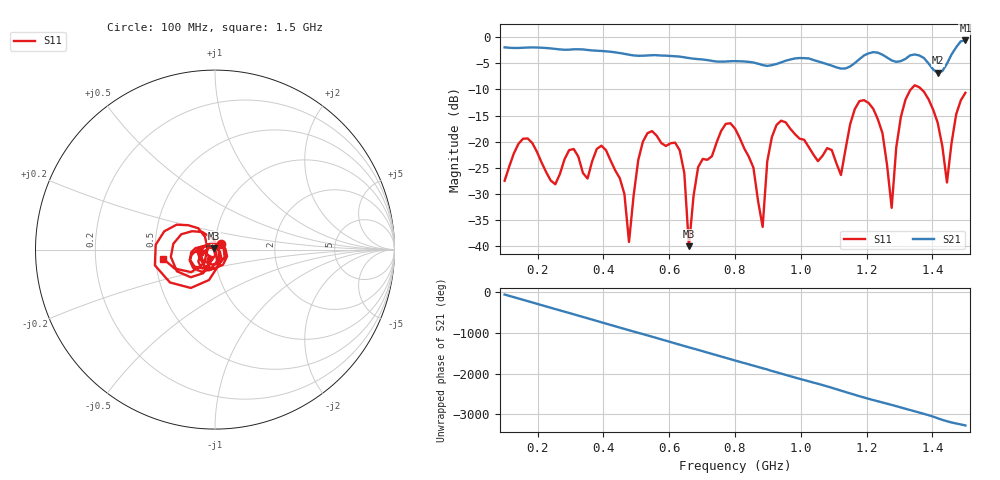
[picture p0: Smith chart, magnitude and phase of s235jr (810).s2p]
! NanoVNA-App
! Date: 2025-09-25 15:10:28
! Start: 100MHz Stop: 1,5GHz Points: 101
! S-Parameter data: F S11 S21 S12 S22
# Hz S RI R 50
!  Frequency  S11_Real  S11_Imag  S21_Real  S21_Imag  S12_Real  S12_Imag  S22_Real  S22_Imag
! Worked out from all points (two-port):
!   101 points, 100 MHz to 1.5 GHz, reference 50 ohm
!   highest |S21| = -0.65 dB at 1.5 GHz (marker M1); lowest = -6.8 dB at 1.416 GHz (marker M2)
!   |S21| within 3 dB of the highest: start of sweep to 612.7 MHz; 1.189 GHz to 1.255 GHz (65.78 MHz wide, 5.38 % of centre) (the widest 2 of 4)
!   lowest |S11| = -40.0 dB at 660 MHz (marker M3), VSWR 1.02, Z = 49.2 + j0.614 ohm
!   |S11| at or under -10 dB: start of sweep to 1.334 GHz; 1.367 GHz to end of sweep
!   S12 and S22 are empty: the file has one direction only
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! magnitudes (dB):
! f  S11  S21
! 100 MHz  -27.5  -2.0
! 156 MHz  -19.4  -2.0
! 338 MHz  -26.0  -2.4
! 408 MHz  -21.6  -2.7
! 478 MHz  -39.2  -3.4
! 520 MHz  -20.0  -3.6
! 576 MHz  -20.3  -3.5
! 632 MHz  -21.6  -3.7
! 660 MHz  -40.0  -4.0
! 688 MHz  -24.9  -4.2
! 800 MHz  -17.5  -4.6
! 884 MHz  -36.3  -5.4
! 926 MHz  -16.8  -5.1
! 1.038 GHz  -22.4  -4.4
! 1.122 GHz  -26.4  -6.0
! 1.206 GHz  -12.6  -3.1
! 1.248 GHz  -18.4  -3.4
! 1.276 GHz  -32.6  -4.5
! 1.332 GHz  -10.2  -3.5
! 1.416 GHz  -16.4  -6.8
! 1.444 GHz  -27.8  -5.1
! 1.5 GHz  -10.7  -0.6
